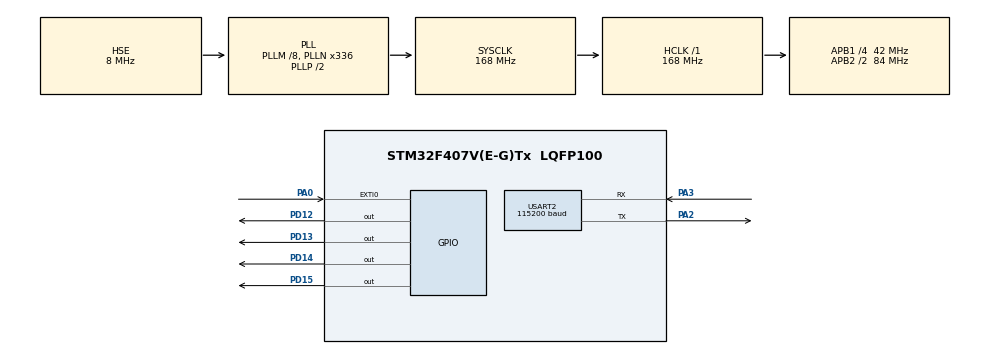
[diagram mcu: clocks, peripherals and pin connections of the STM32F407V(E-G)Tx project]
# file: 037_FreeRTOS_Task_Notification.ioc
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FREERTOS.Tasks01=defaultTask,24,128,StartDefaultTask,Default,NULL,Dynamic,NULL,NULL
FREERTOS.configUSE_NEWLIB_REENTRANT=1
Mcu.Family=STM32F4
Mcu.Name=STM32F407V(E-G)Tx
Mcu.Package=LQFP100
NVIC.EXTI0_IRQn=true\:5\:0\:false\:false\:true\:true\:true\:true\:true
NVIC.PriorityGroup=NVIC_PRIORITYGROUP_4
NVIC.TIM8_TRG_COM_TIM14_IRQn=true\:15\:0\:false\:false\:true\:false\:false\:true\:true
NVIC.TimeBase=TIM8_TRG_COM_TIM14_IRQn
NVIC.TimeBaseIP=TIM14
NVIC.USART2_IRQn=true\:5\:0\:false\:false\:true\:true\:true\:true\:true
PA0-WKUP.Signal=GPXTI0
PA2.Mode=Asynchronous
PA2.Signal=USART2_TX
PA3.Mode=Asynchronous
PA3.Signal=USART2_RX
PD12.Signal=GPIO_Output
PD13.Signal=GPIO_Output
PD14.Signal=GPIO_Output
PD15.Signal=GPIO_Output
PH0-OSC_IN.Mode=HSE-External-Oscillator
PH0-OSC_IN.Signal=RCC_OSC_IN
PH1-OSC_OUT.Mode=HSE-External-Oscillator
PH1-OSC_OUT.Signal=RCC_OSC_OUT
ProjectManager.HeapSize=0x200
ProjectManager.StackSize=0x400
ProjectManager.TargetToolchain=STM32CubeIDE
RCC.48MHZClocksFreq_Value=48000000
RCC.AHBFreq_Value=168000000
RCC.APB1CLKDivider=RCC_HCLK_DIV4
RCC.APB1Freq_Value=42000000
RCC.APB1TimFreq_Value=84000000
RCC.APB2CLKDivider=RCC_HCLK_DIV2
RCC.APB2Freq_Value=84000000
RCC.APB2TimFreq_Value=168000000
RCC.CortexFreq_Value=168000000
RCC.HCLKFreq_Value=168000000
RCC.HSE_VALUE=8000000
RCC.HSI_VALUE=16000000
RCC.LSE_VALUE=32768
RCC.PLLM=8
RCC.PLLN=336
RCC.PLLQ=7
RCC.PLLSourceVirtual=RCC_PLLSOURCE_HSE
RCC.SYSCLKFreq_VALUE=168000000
RCC.SYSCLKSource=RCC_SYSCLKSOURCE_PLLCLK
RCC.VCOOutputFreq_Value=336000000
USART2.BaudRate=115200
USART2.VirtualMode=VM_ASYNC
VP_FREERTOS_VS_CMSIS_V2.Mode=CMSIS_V2
VP_SYS_VS_tim14.Mode=TIM14
board=STM32F407G-DISC1

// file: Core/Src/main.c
/* USER CODE BEGIN Header */
/**
  ******************************************************************************
  * @file           : main.c
  * @brief          : Main program body
  ******************************************************************************
  * @attention
  *
  * Copyright (c) 2023 STMicroelectronics.
  * All rights reserved.
  *
  * This software is licensed under terms that can be found in the LICENSE file
  * in the root directory of this software component.
  * If no LICENSE file comes with this software, it is provided AS-IS.
  *
  ******************************************************************************
  */
/* USER CODE END Header */
#include "main.h"

/* USER CODE BEGIN Includes */
#include "FreeRTOS.h"
#include "task.h"
#include <string.h>
/* USER CODE END Includes */

UART_HandleTypeDef huart2;

/* Definitions for defaultTask */
/* USER CODE BEGIN PV */
TaskHandle_t vHandlerTask_Handle = NULL;
/* USER CODE END PV */

void SystemClock_Config(void);
static void MX_GPIO_Init(void);
static void MX_USART2_UART_Init(void);

/* USER CODE BEGIN 0 */
static void vHandlerTask(void *pvParameters)
{
	const TickType_t xMaxExpectedBlockTime = pdMS_TO_TICKS(5000);
	uint32_t ulEventsToProcess;
	const char *msg = "Handler task - processing event\r\n";
	const char *failmsg = "Interrupt didnt occur in 5 seconds!";
	for(;;)
	{
		ulEventsToProcess = ulTaskNotifyTake(pdTRUE, xMaxExpectedBlockTime);
		HAL_GPIO_TogglePin(GPIOD, GPIO_PIN_13);
		if(ulEventsToProcess != 0)
		{
			while(ulEventsToProcess > 0)
			{
				HAL_UART_Transmit(&huart2, (uint8_t *)msg, strlen(msg), HAL_MAX_DELAY);
				ulEventsToProcess--;
			}
			HAL_GPIO_TogglePin(GPIOD, GPIO_PIN_12);
		}
		else
		{
			HAL_UART_Transmit(&huart2, (uint8_t *)failmsg, strlen(failmsg), HAL_MAX_DELAY);
		}
	}
}
void HAL_GPIO_EXTI_Callback(uint16_t GPIO_Pin)
{
  if(GPIO_Pin == GPIO_PIN_0)
  {
	  BaseType_t xHigherPriorityTaskWoken;
	  xHigherPriorityTaskWoken = pdFALSE;

	  vTaskNotifyGiveFromISR(vHandlerTask_Handle, &xHigherPriorityTaskWoken);
	  portYIELD_FROM_ISR(xHigherPriorityTaskWoken);
	  HAL_GPIO_TogglePin(GPIOD, GPIO_PIN_14);
  }
}
/* USER CODE END 0 */

int main(void)
{

  /* MCU Configuration--------------------------------------------------------*/

  /* Reset of all peripherals, Initializes the Flash interface and the Systick. */
  HAL_Init();

  /* Configure the system clock */
  SystemClock_Config();

  /* Initialize all configured peripherals */
  MX_GPIO_Init();
  MX_USART2_UART_Init();
  /* USER CODE BEGIN 2 */
  xTaskCreate(vHandlerTask,"Handler Task", 1000, NULL, 1, &vHandlerTask_Handle );
  vTaskStartScheduler();
  /* USER CODE END 2 */

  /* Init scheduler */

  /* Create the thread(s) */
  /* creation of defaultTask */

  /* Start scheduler */

  /* We should never get here as control is now taken by the scheduler */
  /* Infinite loop */
  while (1)
  {

  }
}

void SystemClock_Config(void)
{
  RCC_OscInitTypeDef RCC_OscInitStruct = {0};
  RCC_ClkInitTypeDef RCC_ClkInitStruct = {0};

  /** Configure the main internal regulator output voltage
  */
  __HAL_RCC_PWR_CLK_ENABLE();
  __HAL_PWR_VOLTAGESCALING_CONFIG(PWR_REGULATOR_VOLTAGE_SCALE1);

  /** Initializes the RCC Oscillators according to the specified parameters
  * in the RCC_OscInitTypeDef structure.
  */
  RCC_OscInitStruct.OscillatorType = RCC_OSCILLATORTYPE_HSE;
  RCC_OscInitStruct.HSEState = RCC_HSE_ON;
  RCC_OscInitStruct.PLL.PLLState = RCC_PLL_ON;
  RCC_OscInitStruct.PLL.PLLSource = RCC_PLLSOURCE_HSE;
  RCC_OscInitStruct.PLL.PLLM = 8;
  RCC_OscInitStruct.PLL.PLLN = 336;
  RCC_OscInitStruct.PLL.PLLP = RCC_PLLP_DIV2;
  RCC_OscInitStruct.PLL.PLLQ = 7;
  if (HAL_RCC_OscConfig(&RCC_OscInitStruct) != HAL_OK)
  {
    Error_Handler();
  }

  /** Initializes the CPU, AHB and APB buses clocks
  */
  RCC_ClkInitStruct.ClockType = RCC_CLOCKTYPE_HCLK|RCC_CLOCKTYPE_SYSCLK
                              |RCC_CLOCKTYPE_PCLK1|RCC_CLOCKTYPE_PCLK2;
  RCC_ClkInitStruct.SYSCLKSource = RCC_SYSCLKSOURCE_PLLCLK;
  RCC_ClkInitStruct.AHBCLKDivider = RCC_SYSCLK_DIV1;
  RCC_ClkInitStruct.APB1CLKDivider = RCC_HCLK_DIV4;
  RCC_ClkInitStruct.APB2CLKDivider = RCC_HCLK_DIV2;

  if (HAL_RCC_ClockConfig(&RCC_ClkInitStruct, FLASH_LATENCY_5) != HAL_OK)
  {
    Error_Handler();
  }
}

static void MX_USART2_UART_Init(void)
{

  huart2.Instance = USART2;
  huart2.Init.BaudRate = 115200;
  huart2.Init.WordLength = UART_WORDLENGTH_8B;
  huart2.Init.StopBits = UART_STOPBITS_1;
  huart2.Init.Parity = UART_PARITY_NONE;
  huart2.Init.Mode = UART_MODE_TX_RX;
  huart2.Init.HwFlowCtl = UART_HWCONTROL_NONE;
  huart2.Init.OverSampling = UART_OVERSAMPLING_16;
  if (HAL_UART_Init(&huart2) != HAL_OK)
  {
    Error_Handler();
  }

}

static void MX_GPIO_Init(void)
{
  GPIO_InitTypeDef GPIO_InitStruct = {0};

  /* GPIO Ports Clock Enable */
  __HAL_RCC_GPIOH_CLK_ENABLE();
  __HAL_RCC_GPIOA_CLK_ENABLE();
  __HAL_RCC_GPIOD_CLK_ENABLE();

  /*Configure GPIO pin Output Level */
  HAL_GPIO_WritePin(GPIOD, GPIO_PIN_12|GPIO_PIN_13|GPIO_PIN_14|GPIO_PIN_15, GPIO_PIN_RESET);

  /*Configure GPIO pin : PA0 */
  GPIO_InitStruct.Pin = GPIO_PIN_0;
  GPIO_InitStruct.Mode = GPIO_MODE_IT_RISING;
  GPIO_InitStruct.Pull = GPIO_NOPULL;
  HAL_GPIO_Init(GPIOA, &GPIO_InitStruct);

  /*Configure GPIO pins : PD12 PD13 PD14 PD15 */
  GPIO_InitStruct.Pin = GPIO_PIN_12|GPIO_PIN_13|GPIO_PIN_14|GPIO_PIN_15;
  GPIO_InitStruct.Mode = GPIO_MODE_OUTPUT_PP;
  GPIO_InitStruct.Pull = GPIO_NOPULL;
  GPIO_InitStruct.Speed = GPIO_SPEED_FREQ_LOW;
  HAL_GPIO_Init(GPIOD, &GPIO_InitStruct);

  /* EXTI interrupt init*/
  HAL_NVIC_SetPriority(EXTI0_IRQn, 5, 0);
  HAL_NVIC_EnableIRQ(EXTI0_IRQn);

}

void HAL_TIM_PeriodElapsedCallback(TIM_HandleTypeDef *htim)
{
  if (htim->Instance == TIM14) {
    HAL_IncTick();
  }
}

void Error_Handler(void)
{
  __disable_irq();
  while (1)
  {
  }
}
